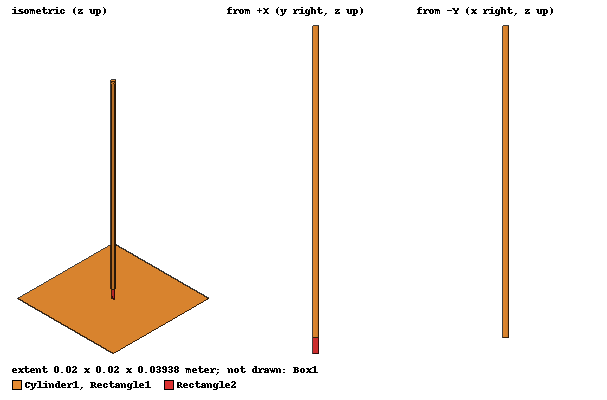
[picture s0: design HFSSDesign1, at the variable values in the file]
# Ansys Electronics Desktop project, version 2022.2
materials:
  vacuum: permittivity=1
  copper: permeability=0.999991 conductivity=58000000
  air: permittivity=1.0006 permeability=1.0000004

design HFSSDesign1 (HFSS, DrivenModal, model units meter)
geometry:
  Cylinder1 [copper] = cylinder(axis=Z, base_centre=(0meter, 0meter, (0.00375/2) meter), radius=0.000375meter, height=0.0375meter)
  Rectangle1 = rectangle(corner=(-0.01meter, -0.01meter, 0meter), x_size=0.02meter, y_size=0.02meter)
  Rectangle2 = rectangle(corner=(0meter, -0.000375meter, 0.001875meter), y_size=(0.000375*2) meter, z_size=-0.001875meter)
  Box1 [air] = box(corner=(-0.05meter, -0.05meter, -0.05meter), size=((0.05*2) meter, (0.05*2) meter, (0.05*2) meter))
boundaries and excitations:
  PerfE1: Perfect E Objects=Rectangle1
  Rad1: Radiation Objects=Box1
  1: Lumped Port Objects=Rectangle2 Modes{Mode1{IntLine{(0, 0, 0) -> (0, 0, 0.001875)} CharImp=Zpi RenormImp=50ohm}} Impedance=50ohm
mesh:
  initial mesh: GlobalSurfApproximation{CurvedSurfaceApproxChoice=UseSlider SliderMeshSettings=1}
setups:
  Setup1: HfssDriven Frequency=2GHz MaxDeltaS=0.02 MaximumPasses=15 MinimumPasses=1 MinimumConvergedPasses=1 PercentRefinement=30 BasisOrder=1 PortAccuracy=2 DrivenSolverType="Direct Solver"
    sweep Sweep: 1GHz to 3GHz, 401 points; Type=Fast SaveFields
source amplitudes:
  1:1: 1W 0deg
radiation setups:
  Infinite Sphere1: Infinite Sphere Theta=0deg..180deg step 2deg Phi=-180deg..180deg step 2deg
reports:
  S Parameter Plot 1: dB(S(1,1)) vs Freq on Setup1 : Sweep; markers m1 at 2.15GHz
